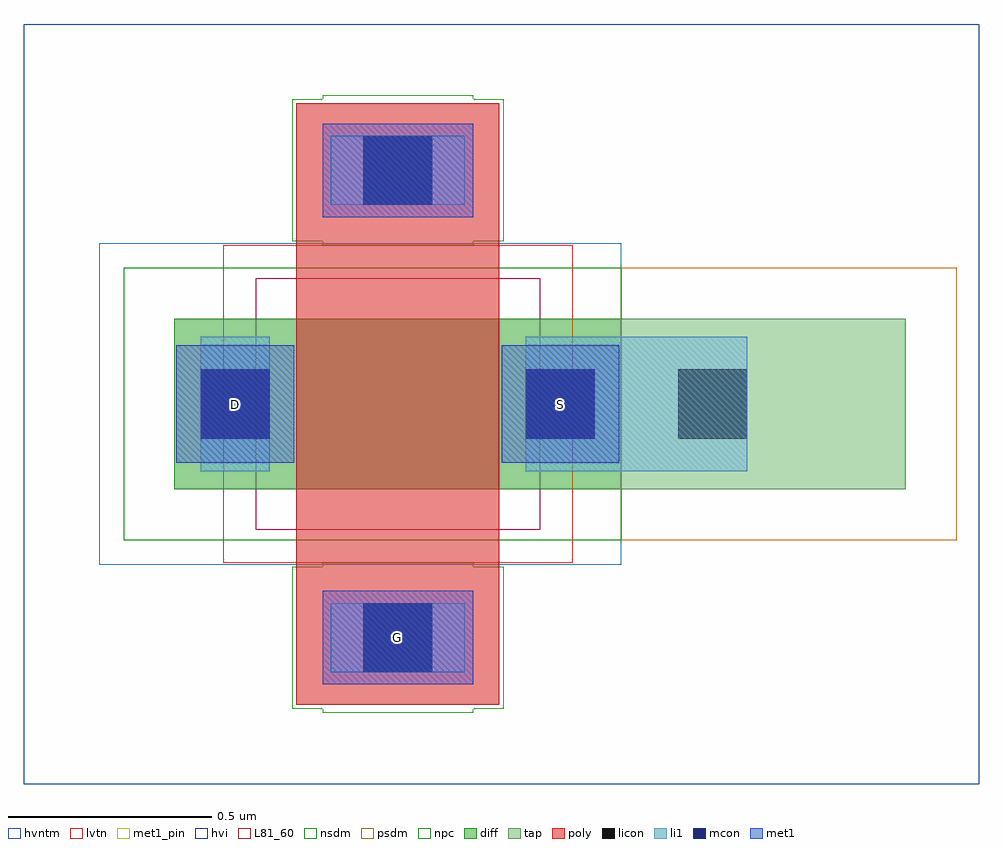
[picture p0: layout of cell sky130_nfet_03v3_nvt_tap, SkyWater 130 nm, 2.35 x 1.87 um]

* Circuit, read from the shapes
.subckt sky130_nfet_03v3_nvt_tap D G S
XM1 S G D S sky130_fd_pr__nfet_05v0_nvt w=0.42 l=0.5
.ends

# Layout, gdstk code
import gdstk
lib = gdstk.Library(unit=1e-6, precision=1e-09)
def R(c, l, rs):  # rectangles x0, y0, x1, y1
    for r in rs: c.add(gdstk.rectangle(r[:2], r[2:], *l))
diff = (65, 20)
tap = (65, 44)
poly = (66, 20)
licon = (66, 44)
li1 = (67, 20)
mcon = (67, 44)
met1_pin = (68, 16)
met1 = (68, 20)
hvi = (75, 20)
L81_60 = (81, 60)
nsdm = (93, 44)
psdm = (94, 20)
npc = (95, 20)
hvntm = (125, 20)
lvtn = (125, 44)

nfet = lib.new_cell('nfet')
R(nfet, diff, [(0,0,1.1,0.42)])
R(nfet, tap, [(1.1,0,1.55,0.42)])
R(nfet, poly, [(0.3,-0.53,0.8,-0.2), (0.3,-0.2,0.8,0.62), (0.3,0.62,0.8,0.95)])
R(nfet, licon, [(0.465,-0.45,0.635,-0.28), (0.065,0.125,0.235,0.295), (0.865,0.125,1.035,0.295), (1.24,0.125,1.41,0.295), (0.465,0.7,0.635,0.87)])
R(nfet, li1, [(0.385,-0.45,0.715,-0.28), (0.065,0.045,0.235,0.375), (0.865,0.045,1.035,0.375), (1.24,0.045,1.41,0.375), (0.385,0.7,0.715,0.87)])
R(nfet, mcon, [(0.465,-0.45,0.635,-0.28), (0.065,0.125,0.235,0.295), (0.865,0.125,1.035,0.295), (0.465,0.7,0.635,0.87)])
R(nfet, met1, [(0.365,-0.48,0.735,-0.25), (0.005,0.065,0.295,0.355), (0.805,0.065,1.095,0.355), (0.365,0.67,0.735,0.9)])
R(nfet, hvi, [(-0.37,-0.725,1.86,1.145)])
R(nfet, L81_60, [(0.2,-0.1,0.9,0.52)])
R(nfet, nsdm, [(-0.125,-0.125,1.1,0.545)])
R(nfet, psdm, [(1.1,-0.125,1.675,0.545)])
R(nfet, npc, [(0.29,-0.54,0.81,-0.19), (0.29,0.61,0.81,0.96)])
R(nfet, hvntm, [(-0.185,-0.185,1.1,0.605)])
R(nfet, lvtn, [(0.12,-0.18,0.98,0.6)])

sky130_nfet_03v3_nvt_tap = lib.new_cell('sky130_nfet_03v3_nvt_tap')
R(sky130_nfet_03v3_nvt_tap, tap, [(1.1,0,1.8,0.42)])
R(sky130_nfet_03v3_nvt_tap, li1, [(1.035,0.045,1.24,0.375)])
R(sky130_nfet_03v3_nvt_tap, met1_pin, [(0.465,-0.45,0.635,-0.28), (0.065,0.125,0.235,0.295), (0.865,0.125,1.035,0.295)])
R(sky130_nfet_03v3_nvt_tap, hvi, [(-0.37,-0.725,1.98,1.145)])
R(sky130_nfet_03v3_nvt_tap, psdm, [(1.1,-0.125,1.925,0.545)])
R(sky130_nfet_03v3_nvt_tap, npc, [(0.365,-0.55,0.735,-0.18), (0.365,0.6,0.735,0.97)])
sky130_nfet_03v3_nvt_tap.add(gdstk.Reference(nfet, (0,0)))
sky130_nfet_03v3_nvt_tap.add(gdstk.Label('D', (0.15,0.21), layer=68, texttype=5))
sky130_nfet_03v3_nvt_tap.add(gdstk.Label('S', (0.95,0.21), layer=68, texttype=5))
sky130_nfet_03v3_nvt_tap.add(gdstk.Label('G', (0.55,-0.365), layer=68, texttype=5))

lib.write_gds('sky130_nfet_03v3_nvt_tap.gds')
